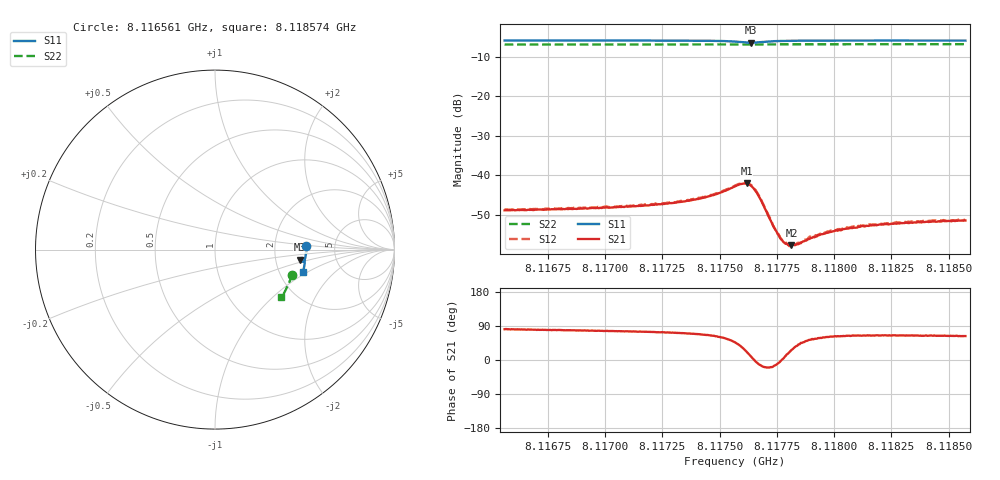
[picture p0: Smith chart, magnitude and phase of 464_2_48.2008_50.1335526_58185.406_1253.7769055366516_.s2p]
#  HZ  S  RI  R  50.00
! Rohde & Schwarz Vector Network Analyzer
! Rohde-Schwarz,ZNB20-2Port,1311601062101988,3.16
! Created: UTC 3/20/2024, 11:56:52 AM
! freq[Hz]  re:S11  im:S11  re:S21  im:S21  re:S12  im:S12  re:S22  im:S22
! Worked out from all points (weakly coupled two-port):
!   401 points, 8.116561 GHz to 8.118574 GHz, reference 50 ohm
!   highest |S21| = -42.05 dB at 8.117618 GHz (marker M1); lowest = -57.7 dB at 8.117814 GHz (marker M2)
!   lowest |S11| = -6.4 dB at 8.117638 GHz (marker M3), VSWR 2.82, Z = 138 - j19.8 ohm
!   |S11| at or under -10 dB: nowhere
!   |S22| runs from -6.9 to -6.8 dB; largest |S21 - S12| = 0.00022
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8.1165612e9  0.5073 0.0177  0.000547 0.00357  0.000575 0.00364  0.4283 -0.1392
8.1168983e9  0.5071 -0.00833  0.000801 0.00372  0.000854 0.00376  0.4212 -0.1616
8.1172354e9  0.5049 -0.0355  0.00124 0.00414  0.00134 0.00418  0.413 -0.1838
8.1174265e9  0.501 -0.053  0.00203 0.00478  0.00209 0.00492  0.4079 -0.1961
8.117497e9  0.4971 -0.061  0.00287 0.00521  0.00295 0.0053  0.4058 -0.2006
8.1175674e9  0.4868 -0.0678  0.00499 0.0053  0.00512 0.00539  0.4031 -0.2051
8.1175926e9  0.4806 -0.0676  0.00625 0.00462  0.00639 0.00469  0.4021 -0.2065
8.1176177e9  0.4743 -0.0627  0.00732 0.00297  0.00748 0.00297  0.4013 -0.2078
8.1176379e9  0.4727 -0.0557  0.00728 0.00113  0.00744 0.00109  0.4006 -0.2087
8.117653e9  0.4749 -0.0505  0.00658 -0.000118  0.00673 -0.000113  0.4005 -0.2094
8.1176731e9  0.4805 -0.0466  0.0052 -0.00111  0.00538 -0.00117  0.4001 -0.2105
8.1177335e9  0.494 -0.0507  0.00222 -0.000692  0.00221 -0.00071  0.3989 -0.2145
8.1177636e9  0.497 -0.0551  0.00163 -0.000138  0.00165 -0.000219  0.3981 -0.2164
8.1177888e9  0.4982 -0.0585  0.00134 0.000261  0.0014 0.00028  0.3973 -0.2182
8.117814e9  0.499 -0.0617  0.00117 0.000579  0.00119 0.000574  0.3966 -0.2199
8.1178441e9  0.4995 -0.0652  0.00102 0.000887  0.00107 0.000912  0.3958 -0.2217
8.1179045e9  0.4998 -0.0716  0.00092 0.00134  0.000991 0.00135  0.3938 -0.2256
8.117985e9  0.4993 -0.0791  0.000909 0.0017  0.000939 0.00177  0.3911 -0.2307
8.1180504e9  0.4984 -0.0848  0.000949 0.00189  0.00094 0.00188  0.389 -0.2347
8.1181611e9  0.4971 -0.0939  0.00101 0.0021  0.00106 0.00212  0.3852 -0.2416
8.1182416e9  0.4959 -0.1002  0.00101 0.00219  0.00105 0.00223  0.3824 -0.2465
8.1185737e9  0.4899 -0.1253  0.00122 0.0024  0.00127 0.00247  0.3701 -0.2663
